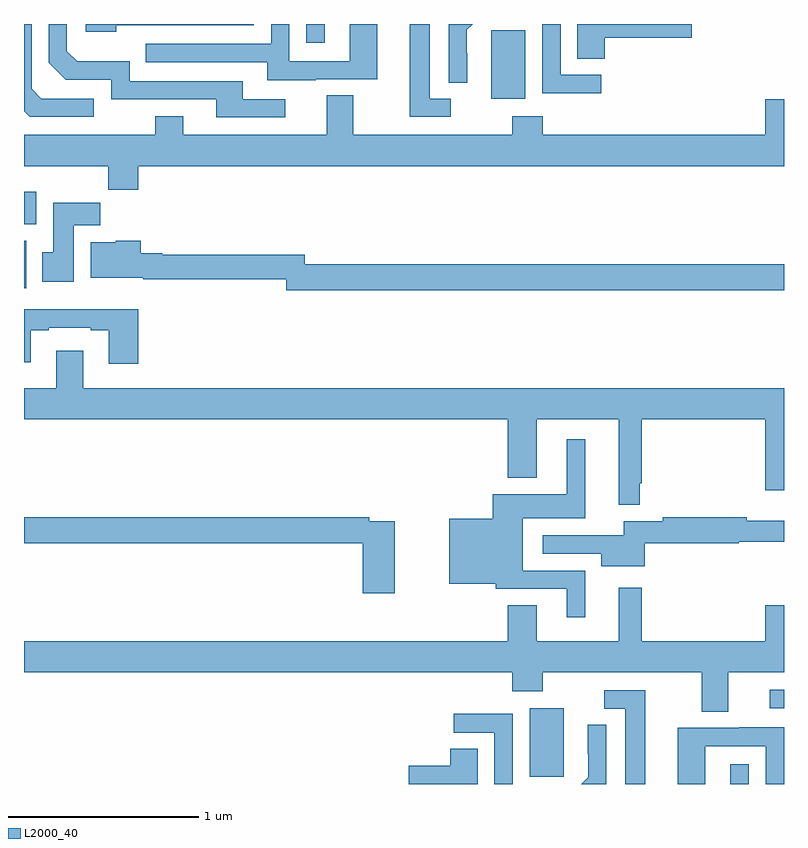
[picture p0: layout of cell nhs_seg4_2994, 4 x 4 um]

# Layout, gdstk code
import gdstk
lib = gdstk.Library(unit=1e-6, precision=1e-09)
def R(c, l, rs):  # rectangles x0, y0, x1, y1
    for r in rs: c.add(gdstk.rectangle(r[:2], r[2:], *l))
def P(c, l, *ps):  # polygons
    for p in ps: c.add(gdstk.Polygon(p, *l))
L2000_40 = (2000, 40)

nhs_seg4_2994 = lib.new_cell('nhs_seg4_2994')
R(nhs_seg4_2994, L2000_40, [(272.717,794.9,272.814,795.004), (271.661,794.937,271.84,795.298), (272.925,795.3,273,795.396), (269,797.508,269.011,797.758), (269,797.846,269.065,798.016), (271.46,798.506,271.639,798.867), (270.486,798.801,270.583,798.9)])
P(nhs_seg4_2994, L2000_40, [(272.038,798.633),(271.824,798.633),(271.824,798.9),(271.728,798.9),(271.728,798.535),(272.038,798.535)],
  [(271.332,798.746),(271.331,798.746),(271.331,798.869),(271.362,798.9),(271.236,798.9),(271.236,798.592),(271.332,798.592)],
  [(269.486,798.894),(270.21,798.894),(270.21,798.9),(269.325,798.9),(269.325,798.86),(269.486,798.86)],
  [(269.368,798.507),(269.091,798.507),(269.04,798.558),(269.04,798.9),(269,798.9),(269,798.442),(269.031,798.411),(269.368,798.411)],
  [(270.535,798.609),(270.859,798.609),(270.859,798.9),(270.714,798.9),(270.714,798.705),(270.396,798.705),(270.396,798.9),(270.3,798.9),(270.3,798.795),(269.641,798.795),(269.641,798.699),(270.281,798.699),(270.281,798.605),(270.535,798.605)],
  [(271.246,798.507),(271.135,798.507),(271.135,798.9),(271.031,798.9),(271.031,798.411),(271.246,798.411)],
  [(270.376,798.504),(270.151,798.504),(270.151,798.6),(269.556,798.6),(269.556,798.703),(269.279,798.703),(269.226,798.756),(269.226,798.9),(269.13,798.9),(269.13,798.696),(269.22,798.606),(269.46,798.606),(269.46,798.504),(270.011,798.504),(270.011,798.408),(270.376,798.408)],
  [(272.057,798.827),(272.515,798.827),(272.515,798.9),(271.913,798.9),(271.913,798.718),(272.057,798.718)],
  [(269.6,798.152),(273,798.152),(273,798.505),(272.9,798.505),(272.9,798.316),(271.73,798.316),(271.73,798.415),(271.57,798.415),(271.57,798.316),(270.733,798.316),(270.733,798.524),(270.593,798.524),(270.593,798.316),(269.839,798.316),(269.839,798.415),(269.692,798.415),(269.692,798.316),(269,798.316),(269,798.152),(269.443,798.152),(269.443,798.028),(269.6,798.028)],
  [(269.263,797.84),(269.402,797.84),(269.402,797.958),(269.153,797.958),(269.153,797.7),(269.096,797.7),(269.096,797.544),(269.263,797.544)],
  [(273,797.636),(270.477,797.636),(270.477,797.686),(269.727,797.686),(269.727,797.694),(269.615,797.694),(269.615,797.758),(269.484,797.758),(269.484,797.752),(269.351,797.752),(269.351,797.564),(269.627,797.564),(269.627,797.557),(270.381,797.557),(270.381,797.5),(273,797.5)],
  [(269.6,797.398),(269,797.398),(269,797.12),(269.035,797.12),(269.035,797.289),(269.131,797.289),(269.131,797.301),(269.351,797.301),(269.351,797.289),(269.447,797.289),(269.447,797.112),(269.6,797.112)],
  [(272.24,796.483),(272.251,796.483),(272.251,796.82),(272.9,796.82),(272.9,796.446),(273,796.446),(273,796.984),(269.311,796.984),(269.311,797.179),(269.171,797.179),(269.171,796.984),(269,796.984),(269,796.82),(271.547,796.82),(271.547,796.511),(271.699,796.511),(271.699,796.82),(272.129,796.82),(272.129,796.371),(272.24,796.371)],
  [(271.954,796.023),(271.624,796.023),(271.624,796.298),(271.954,796.298),(271.954,796.714),(271.856,796.714),(271.856,796.426),(271.466,796.426),(271.466,796.297),(271.238,796.297),(271.238,795.953),(271.482,795.953),(271.482,795.927),(271.856,795.927),(271.856,795.777),(271.954,795.777)],
  [(270.952,796.284),(270.818,796.284),(270.818,796.304),(269,796.304),(269,796.168),(270.782,796.168),(270.782,795.903),(270.952,795.903)],
  [(272.266,796.168),(272.762,796.168),(272.762,796.176),(273,796.176),(273,796.285),(272.804,796.285),(272.804,796.304),(272.362,796.304),(272.362,796.284),(272.156,796.284),(272.156,796.209),(271.731,796.209),(271.731,796.113),(272.039,796.113),(272.039,796.046),(272.266,796.046)],
  [(272.707,795.488),(273,795.488),(273,795.841),(272.9,795.841),(272.9,795.652),(272.251,795.652),(272.251,795.934),(272.129,795.934),(272.129,795.652),(271.699,795.652),(271.699,795.842),(271.547,795.842),(271.547,795.652),(269,795.652),(269,795.488),(271.571,795.488),(271.571,795.389),(271.731,795.389),(271.731,795.488),(272.567,795.488),(272.567,795.28),(272.707,795.28)],
  [(272.269,795.393),(272.055,795.393),(272.055,795.297),(272.165,795.297),(272.165,794.9),(272.269,794.9)],
  [(271.572,795.27),(271.263,795.27),(271.263,795.171),(271.476,795.171),(271.476,794.9),(271.572,794.9)],
  [(272.064,795.212),(271.968,795.212),(271.968,795.058),(271.97,795.058),(271.97,794.936),(271.934,794.9),(272.064,794.9)],
  [(272.586,795.099),(272.904,795.099),(272.904,794.9),(273,794.9),(273,795.199),(272.765,795.199),(272.765,795.195),(272.441,795.195),(272.441,794.9),(272.586,794.9)],
  [(271.387,795.086),(271.244,795.086),(271.244,794.996),(271.026,794.996),(271.026,794.9),(271.387,794.9)])

lib.write_gds('nhs_seg4_2994.gds')
